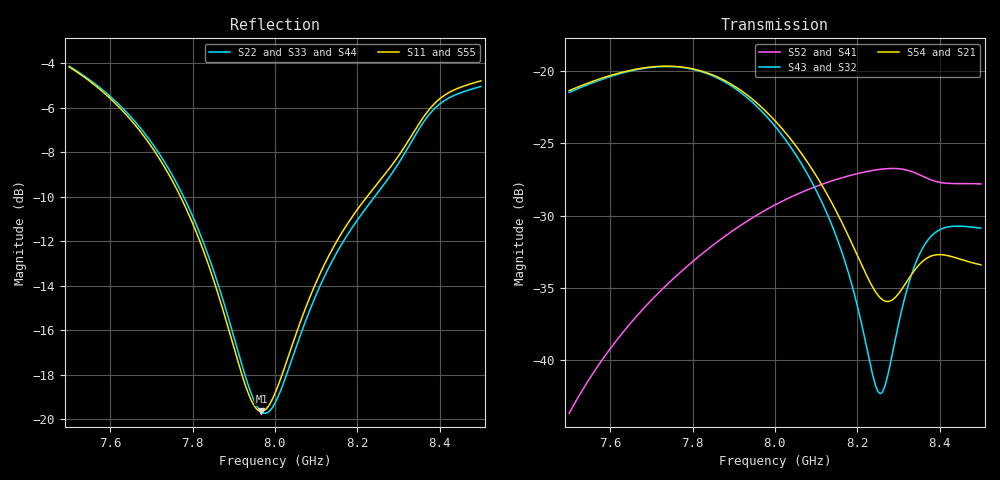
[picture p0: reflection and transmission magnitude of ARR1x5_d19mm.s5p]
! Touchstone file exported from HFSS 2025.1.0
!  File:  C:/Users/user/Documents/Ansoft/TFG_UWB-MIMO-Array.aedt
!  Generated:  02:04:22 PM Nov 20, 2026
!  Design:  ARR1x5_US3_PS6_dparam
!  Project:  TFG_UWB-MIMO-Array
!  Setup:  Setup_ch9
!  Solution:  Sweep_7p5_8p5
! Variables:
!  arr_d = 19mm
!  board_m = 13mm
!  board_x = 102mm
!  board_y = 26mm
!  cu_t = 0.035mm
!  line_w = 3.92mm
!  pad_xy = 22mm
!  pad_zn = 25mm
!  pad_zp = 33mm
!  par_L = 7.05mm
!  par_W = 11mm
!  par_yc = 0.615mm
!  par_z = 1.035mm
!  patch_L = 6.29mm
!  patch_W = 11.421266mm
!  sub_h = 2.07mm
!  tr_l = 6.6mm
!  tr_w = 0.8mm
!  u_Lu = 2.65mm
!  u_Wu = 4.4mm
!  u_t = 0.8mm
!  u_y0 = -0.7mm
# GHz S MA R 50.000000
! Terminal data exported
! Port[1] = P1
! Port[2] = P2
! Port[3] = P3
! Port[4] = P4
! Port[5] = P5
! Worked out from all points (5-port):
!   1001 points, 7.5 GHz to 8.5 GHz, reference 50 ohm
!   strongest paths, dB at 7.5 GHz, 7.75 GHz, 8 GHz, 8.25 GHz, 8.5 GHz:
!     S54: -21.3, -19.7, -23.4, -35.5, -33.4
!     S21: -21.3, -19.7, -23.4, -35.6, -33.3
!     S43: -21.5, -19.7, -23.8, -42.2, -30.9
!     S32: -21.5, -19.7, -23.8, -42.3, -30.9
!     S52: -43.7, -34.4, -29.3, -26.8, -27.8
!     S41: -43.7, -34.5, -29.3, -26.8, -27.8
!   lowest |S11| = -19.7 dB at 7.967 GHz (marker M1), VSWR 1.23, Z = 61 - j3.52 ohm
!   |S11| at or under -10 dB: 7.771 GHz to 8.223 GHz (452.8 MHz wide, 5.66 % of centre)
